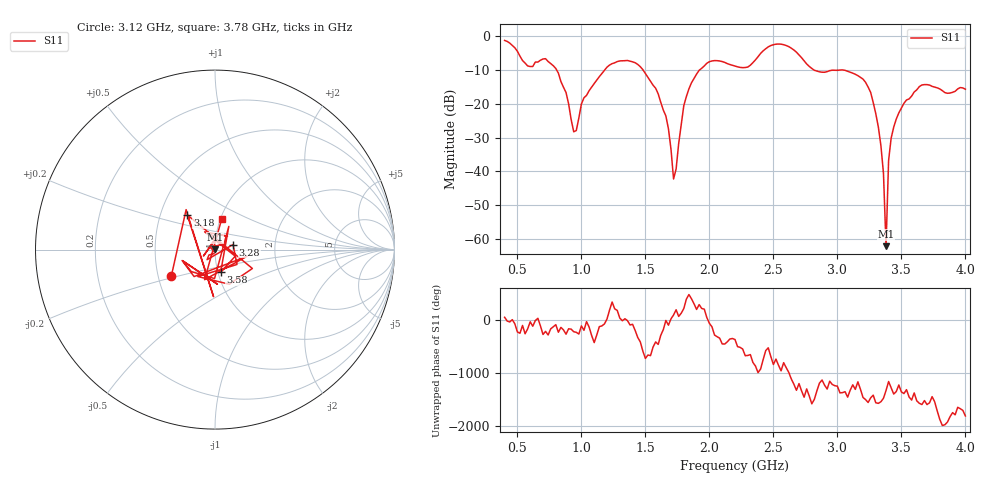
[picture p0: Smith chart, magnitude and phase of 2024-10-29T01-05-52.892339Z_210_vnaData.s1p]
!Created with skrf (http://scikit-rf.org).
# Hz S RI R 50.0
!freq ReS11 ImS11
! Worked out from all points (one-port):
!   181 points, 400 MHz to 4 GHz, reference 50 ohm
!   lowest |S11| = -62.1 dB at 3.38 GHz (marker M1), VSWR 1.00, Z = 50 + j0.0757 ohm
!   |S11| at or under -10 dB: 807.2 MHz to 1.181 GHz (374.1 MHz wide, 37.6 % of centre); 1.483 GHz to 1.921 GHz (438.4 MHz wide, 25.8 % of centre); 3.052 GHz to end of sweep (the widest 3 of 4)
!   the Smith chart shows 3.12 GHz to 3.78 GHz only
!   S11 on the Smith chart (normalised r, x): 3.12 GHz: 0.59, -0.19; 3.18 GHz: 0.68, +0.28; 3.28 GHz: 1.22, +0.07; 3.58 GHz: 1.03, -0.27; 3.78 GHz: 1.01, +0.35
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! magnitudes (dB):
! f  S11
! 400 MHz  -1.2
! 580 MHz  -8.7
! 720 MHz  -6.6
! 860 MHz  -15.1
! 940 MHz  -28.3
! 1.02 GHz  -18.2
! 1.3 GHz  -7.3
! 1.58 GHz  -15.4
! 1.68 GHz  -27.4
! 1.72 GHz  -42.2
! 1.76 GHz  -31.7
! 1.8 GHz  -20.5
! 1.92 GHz  -10.0
! 2.2 GHz  -8.8
! 2.66 GHz  -4.0
! 2.82 GHz  -10.0
! 3.1 GHz  -10.6
! 3.12 GHz  -10.9
! 3.18 GHz  -12.1
! 3.28 GHz  -19.6
! 3.36 GHz  -40.5
! 3.38 GHz  -62.1
! 3.4 GHz  -36.7
! 3.42 GHz  -30.1
! 3.56 GHz  -18.5
! 3.58 GHz  -17.7
! 3.78 GHz  -15.2
! 4 GHz  -15.6
